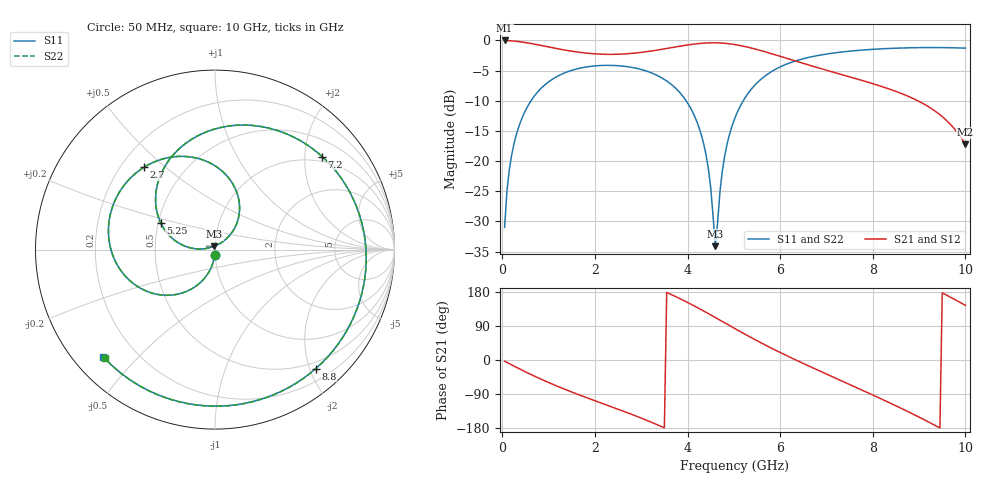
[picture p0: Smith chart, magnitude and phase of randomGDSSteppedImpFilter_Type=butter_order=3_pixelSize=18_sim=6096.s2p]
! freq	dB(S11)	phase(S11)	dB(S12)	phase(S12)
!  dB(S21)	phase(S21)	dB(S22)	phase(S22)
!S-par simulation data
#  GHz  S  DB  R 50
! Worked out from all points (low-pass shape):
!   200 points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, 50 MHz to 10 GHz, reference 50 ohm
!   highest |S21| = -0.01 dB at 50 MHz (marker M1); lowest = -17.2 dB at 10 GHz (marker M2)
!   |S21| within 3 dB of the highest: start of sweep to 6.157 GHz
!   lowest |S11| = -34.1 dB at 4.6 GHz (marker M3), VSWR 1.04, Z = 49.5 + j1.9 ohm
!   |S11| at or under -10 dB: start of sweep to 621.3 MHz; 3.969 GHz to 5.203 GHz (1.234 GHz wide, 26.9 % of centre)
!   |S22| runs from -34.2 to -1.2 dB; largest |S21 - S12| = 0
!   S11 on the Smith chart (normalised r, x): 50 MHz: 1.00, -0.06; 2.7 GHz: 0.29, +0.43; 5.25 GHz: 0.51, +0.17; 7.2 GHz: 0.87, +2.40; 8.8 GHz: 0.39, -2.10; 10 GHz: 0.09, -0.40
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0.05  -31.00 -93.1  -0.01 -3.2  -0.01 -3.2  -30.96 -92.9
0.1  -25.01 -96.4  -0.03 -6.4  -0.03 -6.4  -25.00 -96.3
0.2  -19.09 -102.9  -0.08 -12.8  -0.08 -12.8  -19.10 -103.0
0.5  -11.62 -121.7  -0.36 -31.2  -0.36 -31.2  -11.62 -121.7
1.05  -6.60 -152.6  -1.16 -62.1  -1.16 -62.1  -6.60 -152.6
1.75  -4.49 173.3  -2.05 -96.1  -2.05 -96.1  -4.49 173.4
2.7  -4.36 130.7  -2.21 -139.0  -2.21 -139.0  -4.35 130.7
3.4  -6.02 96.8  -1.54 -173.6  -1.54 -173.6  -6.02 96.8
4.25  -14.48 50.1  -0.52 135.8  -0.52 135.8  -14.48 50.1
4.45  -21.26 43.5  -0.41 122.4  -0.41 122.4  -21.26 43.5
4.6  -34.10 103.7  -0.40 112.1  -0.40 112.1  -34.16 103.6
4.8  -19.25 177.6  -0.48 98.2  -0.48 98.2  -19.26 177.7
5.05  -12.35 165.8  -0.73 81.0  -0.73 81.0  -12.35 165.9
5.25  -9.42 153.6  -1.03 67.4  -1.03 67.4  -9.42 153.7
5.9  -4.78 113.8  -2.40 25.9  -2.40 25.9  -4.78 113.9
6.7  -2.68 68.3  -4.27 -20.4  -4.27 -20.4  -2.68 68.5
7.2  -2.04 41.0  -5.38 -48.1  -5.38 -48.1  -2.04 41.2
7.8  -1.59 8.1  -6.71 -81.2  -6.71 -81.2  -1.58 8.4
8.35  -1.34 -22.9  -8.04 -112.2  -8.04 -112.2  -1.33 -22.6
8.8  -1.22 -49.8  -9.38 -138.6  -9.38 -138.6  -1.22 -49.4
9.45  -1.19 -92.9  -12.32 -179.4  -12.32 -179.4  -1.18 -92.3
10  -1.28 -136.2  -17.23 144.4  -17.23 144.4  -1.28 -135.4
